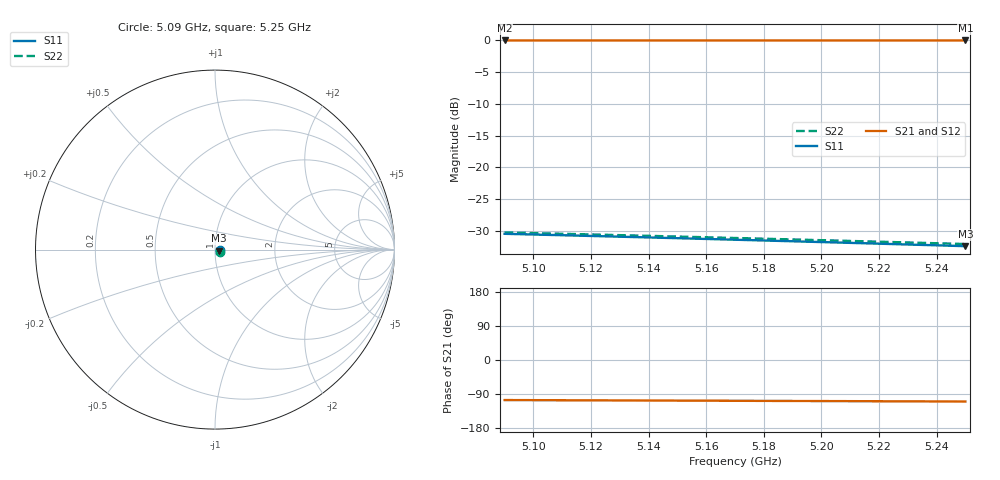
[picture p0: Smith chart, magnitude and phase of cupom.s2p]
! Touchstone file exported from HFSS 2024.2.0
!  File:  D:/dev/EMBRAER/P1H/R05_Correcao/cupons/Bobina_r090/Bobina_r090.aedt
!  Generated:  10:08:04 AM Nov  7, 2026
!  Design:  Bobina_r090
!  Project:  Bobina_r090
!  Setup:  Cupom
!  Solution:  Banda
# GHz S RI R 50.000000
! Terminal data exported
! Port[1] = Entrada
! Port[2] = Saida
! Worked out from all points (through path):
!   17 points, 5.09 GHz to 5.25 GHz, reference 50 ohm
!   highest |S21| = -0.02 dB at 5.25 GHz (marker M1); lowest = 0.0 dB at 5.09 GHz (marker M2)
!   group delay of S21, straight-line fit = 66.6 ps
!   lowest |S11| = -32.4 dB at 5.25 GHz (marker M3), VSWR 1.05, Z = 52.4 - j0.714 ohm
!   |S11| at or under -10 dB: start of sweep to end of sweep
!   |S22| runs from -32.0 to -30.2 dB; largest |S21 - S12| = 1e-15
5.09  0.0297 -0.0048  -0.2704 -0.9602  -0.2704 -0.9602  0.0286 -0.0116
! Gamma 0 0 0 0
! Port Impedance 50 0 50 0
5.1  0.0293 -0.00495  -0.2745 -0.959  -0.2745 -0.959  0.0282 -0.0115
5.11  0.0288 -0.00509  -0.2785 -0.9579  -0.2785 -0.9579  0.0279 -0.0114
5.12  0.0284 -0.00524  -0.2825 -0.9567  -0.2825 -0.9567  0.0275 -0.0112
5.13  0.028 -0.00537  -0.2865 -0.9555  -0.2865 -0.9555  0.0271 -0.0111
5.14  0.0276 -0.00551  -0.2905 -0.9543  -0.2905 -0.9543  0.0268 -0.011
5.15  0.0272 -0.00564  -0.2945 -0.9531  -0.2945 -0.9531  0.0264 -0.0109
5.16  0.0268 -0.00577  -0.2985 -0.9518  -0.2985 -0.9518  0.0261 -0.0108
5.17  0.0264 -0.0059  -0.3025 -0.9506  -0.3025 -0.9506  0.0258 -0.0106
5.18  0.0259 -0.00602  -0.3064 -0.9493  -0.3064 -0.9493  0.0254 -0.0105
5.19  0.0255 -0.00614  -0.3104 -0.948  -0.3104 -0.948  0.0251 -0.0104
5.2  0.0251 -0.00626  -0.3144 -0.9467  -0.3144 -0.9467  0.0247 -0.0102
5.21  0.0247 -0.00638  -0.3183 -0.9454  -0.3183 -0.9454  0.0244 -0.0101
5.22  0.0243 -0.00649  -0.3223 -0.9441  -0.3223 -0.9441  0.0241 -0.00995
5.23  0.0239 -0.0066  -0.3262 -0.9427  -0.3262 -0.9427  0.0237 -0.0098
5.24  0.0234 -0.00671  -0.3302 -0.9413  -0.3302 -0.9413  0.0234 -0.00965
5.25  0.023 -0.00682  -0.3341 -0.9399  -0.3341 -0.9399  0.0231 -0.0095
